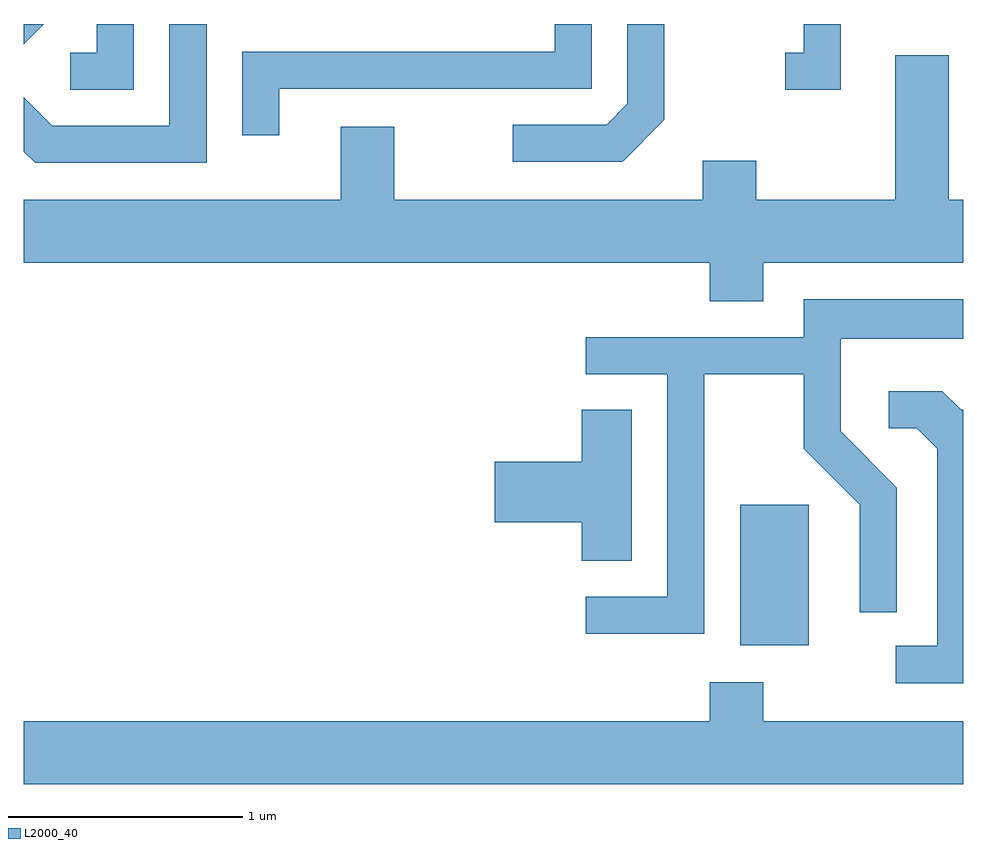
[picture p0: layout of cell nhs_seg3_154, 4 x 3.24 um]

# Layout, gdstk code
import gdstk
lib = gdstk.Library(unit=1e-6, precision=1e-09)
def R(c, l, rs):  # rectangles x0, y0, x1, y1
    for r in rs: c.add(gdstk.rectangle(r[:2], r[2:], *l))
def P(c, l, *ps):  # polygons
    for p in ps: c.add(gdstk.Polygon(p, *l))
L2000_40 = (2000, 40)

nhs_seg3_154 = lib.new_cell('nhs_seg3_154')
R(nhs_seg3_154, L2000_40, [(192.661,1153.246,192.954,1153.844)])
P(nhs_seg3_154, L2000_40, [(190.079,1155.892),(189.921,1155.892),(189.921,1155.769),(189.808,1155.769),(189.808,1155.611),(190.079,1155.611)],
  [(189.697,1155.892),(189.611,1155.892),(189.611,1155.805)],
  [(190.389,1155.892),(190.231,1155.892),(190.231,1155.459),(189.732,1155.459),(189.611,1155.58),(189.611,1155.349),(189.659,1155.301),(190.389,1155.301)],
  [(193.089,1155.892),(192.931,1155.892),(192.931,1155.769),(192.853,1155.769),(192.853,1155.611),(193.089,1155.611)],
  [(190.699,1155.616),(192.029,1155.616),(192.029,1155.892),(191.871,1155.892),(191.871,1155.774),(190.541,1155.774),(190.541,1155.418),(190.699,1155.418)],
  [(192.339,1155.484),(192.339,1155.892),(192.181,1155.892),(192.181,1155.552),(192.094,1155.464),(191.693,1155.464),(191.693,1155.306),(192.162,1155.306)],
  [(192.759,1154.876),(193.611,1154.876),(193.611,1155.144),(193.549,1155.144),(193.549,1155.759),(193.321,1155.759),(193.321,1155.144),(192.729,1155.144),(192.729,1155.309),(192.501,1155.309),(192.501,1155.144),(191.189,1155.144),(191.189,1155.454),(190.961,1155.454),(190.961,1155.144),(189.611,1155.144),(189.611,1154.876),(192.531,1154.876),(192.531,1154.711),(192.759,1154.711)],
  [(192.509,1154.401),(192.931,1154.401),(192.931,1154.084),(193.171,1153.844),(193.171,1153.388),(193.329,1153.388),(193.329,1153.917),(193.089,1154.157),(193.089,1154.551),(193.611,1154.551),(193.611,1154.719),(192.931,1154.719),(192.931,1154.559),(192.003,1154.559),(192.003,1154.401),(192.351,1154.401),(192.351,1153.454),(192.003,1153.454),(192.003,1153.296),(192.509,1153.296)],
  [(193.611,1154.249),(193.602,1154.249),(193.522,1154.329),(193.293,1154.329),(193.293,1154.171),(193.414,1154.171),(193.501,1154.084),(193.501,1153.244),(193.323,1153.244),(193.323,1153.086),(193.611,1153.086)],
  [(192.199,1154.249),(191.986,1154.249),(191.986,1154.029),(191.616,1154.029),(191.616,1153.771),(191.986,1153.771),(191.986,1153.606),(192.199,1153.606)],
  [(193.611,1152.924),(192.759,1152.924),(192.759,1153.089),(192.531,1153.089),(192.531,1152.924),(189.611,1152.924),(189.611,1152.656),(193.611,1152.656)])

lib.write_gds('nhs_seg3_154.gds')
